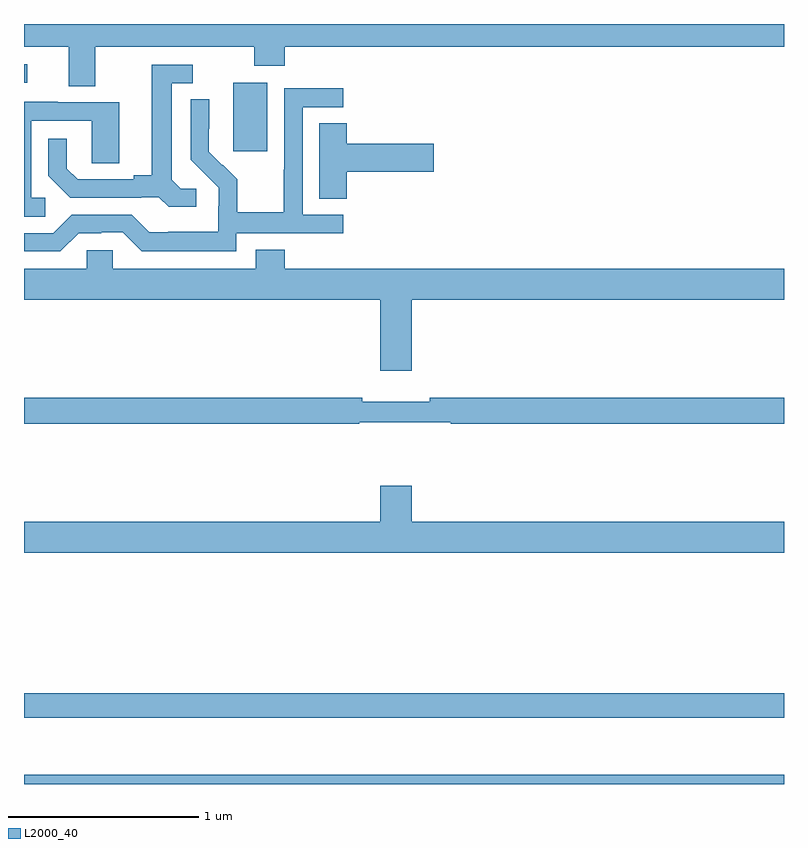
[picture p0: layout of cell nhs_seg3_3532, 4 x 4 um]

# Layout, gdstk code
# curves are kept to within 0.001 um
import gdstk
lib = gdstk.Library(unit=1e-6, precision=1e-09)
def R(c, l, rs):  # rectangles x0, y0, x1, y1
    for r in rs: c.add(gdstk.rectangle(r[:2], r[2:], *l))
def P(c, l, *ps):  # polygons
    for p in ps: c.add(gdstk.Polygon(p, *l))
L2000_40 = (2000, 40)

nhs_seg3_3532 = lib.new_cell('nhs_seg3_3532')
R(nhs_seg3_3532, L2000_40, [(295,666.4,299,666.448), (295,666.75,299,666.878), (296.102,669.729,296.281,670.09), (295,670.092,295.018,670.188)])
P(nhs_seg3_3532, L2000_40, [(295.375,670.28),(296.212,670.28),(296.212,670.181),(296.372,670.181),(296.372,670.28),(299,670.28),(299,670.4),(295,670.4),(295,670.28),(295.235,670.28),(295.235,670.072),(295.375,670.072)],
  [(295.906,669.534),(295.824,669.534),(295.777,669.581),(295.777,670.089),(295.888,670.089),(295.888,670.185),(295.673,670.185),(295.673,669.605),(295.577,669.605),(295.577,669.582),(295.282,669.582),(295.225,669.639),(295.225,669.796),(295.128,669.796),(295.128,669.602),(295.244,669.486),(295.616,669.486),(295.616,669.489),(295.71,669.489),(295.762,669.437),(295.906,669.437)],
  [(296.118,669.3),(296.68,669.3),(296.68,669.396),(296.466,669.396),(296.466,669.963),(296.68,669.963),(296.68,670.062),(296.37,670.062),(296.37,669.632),(296.368,669.632),(296.368,669.409),(296.123,669.409),(296.123,669.583),(296.046,669.66),(296.043,669.657),(295.973,669.728),(295.974,670.004),(295.878,670.004),(295.878,669.686),(296.024,669.538),(296.024,669.441),(296.022,669.441),(296.022,669.307),(295.759,669.307),(295.759,669.303),(295.659,669.303),(295.566,669.396),(295.251,669.396),(295.155,669.3),(295,669.3),(295,669.204),(295.191,669.204),(295.287,669.3),(295.406,669.3),(295.406,669.303),(295.521,669.303),(295.621,669.203),(296.118,669.203)],
  [(295.111,669.486),(295.038,669.486),(295.038,669.891),(295.356,669.891),(295.356,669.667),(295.501,669.667),(295.501,669.987),(295.177,669.987),(295.177,669.991),(295,669.991),(295,669.385),(295.111,669.385)],
  [(296.699,669.623),(297.157,669.623),(297.157,669.77),(296.699,669.77),(296.699,669.878),(296.555,669.878),(296.555,669.481),(296.699,669.481)],
  [(297.04,668.948),(299,668.948),(299,669.112),(296.372,669.112),(296.372,669.211),(296.219,669.211),(296.219,669.112),(295.467,669.112),(295.467,669.21),(295.329,669.21),(295.329,669.112),(295,669.112),(295,668.948),(296.876,668.948),(296.876,668.574),(297.04,668.574)],
  [(296.764,668.304),(297.245,668.304),(297.245,668.296),(299,668.296),(299,668.432),(297.136,668.432),(297.136,668.413),(296.78,668.413),(296.78,668.432),(295,668.432),(295,668.296),(296.764,668.296)],
  [(299,667.78),(297.04,667.78),(297.04,667.969),(296.876,667.969),(296.876,667.78),(295,667.78),(295,667.616),(299,667.616)])

lib.write_gds('nhs_seg3_3532.gds')
